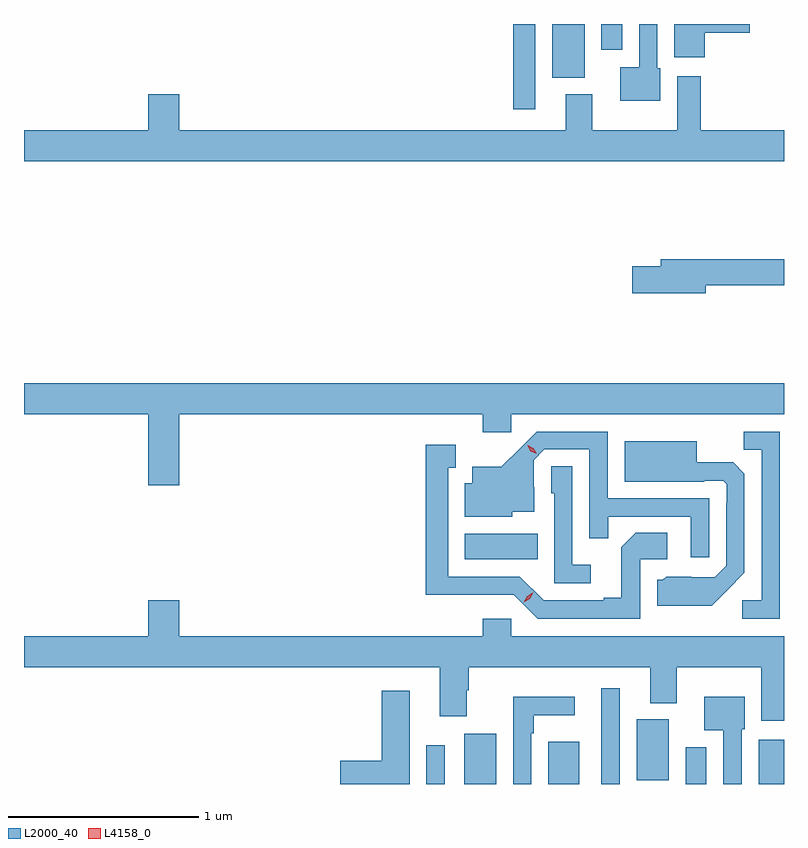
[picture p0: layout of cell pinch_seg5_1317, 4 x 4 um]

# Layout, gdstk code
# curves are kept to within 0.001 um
import gdstk
lib = gdstk.Library(unit=1e-6, precision=1e-09)
def R(c, l, rs):  # rectangles x0, y0, x1, y1
    for r in rs: c.add(gdstk.rectangle(r[:2], r[2:], *l))
def P(c, l, *ps):  # polygons
    for p in ps: c.add(gdstk.Polygon(p, *l))
L2000_40 = (2000, 40)
L4158_0 = (4158, 0)

pinch_seg5_1317 = lib.new_cell('pinch_seg5_1317')
R(pinch_seg5_1317, L2000_40, [(298.341,877.458,298.437,877.663), (298.541,877.458,298.708,877.723), (298.982,877.458,299.146,877.681), (299.262,877.458,299.358,877.963), (299.705,877.458,299.815,877.651), (300.089,877.458,300.223,877.69), (299.447,877.478,299.617,877.798), (298.544,878.642,298.928,878.776), (298.798,881.01,298.914,881.458), (299.003,881.174,299.173,881.458), (299.261,881.322,299.371,881.458)])
P(pinch_seg5_1317, L2000_40, [(299.572,881.226),(299.556,881.226),(299.556,881.458),(299.46,881.458),(299.46,881.23),(299.36,881.23),(299.36,881.054),(299.572,881.054)],
  [(299.807,881.411),(300.043,881.411),(300.043,881.458),(299.645,881.458),(299.645,881.283),(299.807,881.283)],
  [(300.223,880.9),(299.786,880.9),(299.786,881.182),(299.66,881.182),(299.66,880.9),(299.215,880.9),(299.215,881.089),(299.075,881.089),(299.075,880.9),(297.04,880.9),(297.04,881.089),(296.876,881.089),(296.876,880.9),(296.223,880.9),(296.223,880.736),(300.223,880.736)],
  [(299.812,880.084),(300.223,880.084),(300.223,880.22),(299.573,880.22),(299.573,880.184),(299.424,880.184),(299.424,880.042),(299.812,880.042)],
  [(297.04,879.404),(298.637,879.404),(298.637,879.309),(298.788,879.309),(298.788,879.404),(300.223,879.404),(300.223,879.568),(296.223,879.568),(296.223,879.404),(296.876,879.404),(296.876,879.03),(297.04,879.03)],
  [(299.829,878.961),(299.295,878.961),(299.295,879.312),(298.922,879.312),(298.735,879.127),(298.583,879.127),(298.583,879.04),(298.544,879.04),(298.544,878.864),(298.794,878.864),(298.794,878.891),(298.909,878.891),(298.909,879.02),(298.905,879.02),(298.905,879.162),(298.962,879.219),(299.199,879.219),(299.199,878.752),(299.297,878.752),(299.297,878.865),(299.733,878.865),(299.733,878.652),(299.829,878.652)],
  [(300.201,879.312),(300.01,879.312),(300.01,879.217),(300.105,879.217),(300.105,878.424),(300.003,878.424),(300.003,878.328),(300.201,878.328)],
  [(299.923,878.477),(300.015,878.57),(300.015,879.092),(299.956,879.151),(299.764,879.151),(299.764,879.262),(299.384,879.262),(299.384,879.05),(299.804,879.05),(299.804,879.054),(299.904,879.054),(299.922,879.036),(299.922,878.936),(299.919,878.936),(299.919,878.607),(299.859,878.547),(299.602,878.548),(299.586,878.532),(299.555,878.532),(299.555,878.396),(299.843,878.396)],
  [(299.466,878.64),(299.608,878.64),(299.608,878.78),(299.443,878.78),(299.367,878.704),(299.367,878.437),(299.273,878.437),(299.273,878.424),(298.959,878.424),(298.833,878.55),(298.456,878.55),(298.456,879.123),(298.495,879.123),(298.495,879.244),(298.338,879.244),(298.338,878.453),(298.8,878.454),(298.926,878.328),(299.466,878.328)],
  [(299.206,878.611),(299.109,878.611),(299.109,879.131),(298.998,879.131),(298.998,878.988),(299.013,878.988),(299.013,878.514),(299.206,878.514)],
  [(297.04,878.425),(296.876,878.425),(296.876,878.236),(296.223,878.236),(296.223,878.072),(298.412,878.072),(298.412,877.815),(298.552,877.815),(298.552,877.952),(298.565,877.952),(298.565,878.072),(299.519,878.072),(299.519,877.883),(299.659,877.883),(299.659,878.072),(300.104,878.072),(300.104,877.791),(300.223,877.791),(300.223,878.236),(298.788,878.236),(298.788,878.329),(298.637,878.329),(298.637,878.236),(297.04,878.236)],
  [(298.252,877.948),(298.106,877.948),(298.106,877.58),(297.888,877.58),(297.888,877.458),(298.252,877.458)],
  [(298.893,877.724),(298.906,877.724),(298.906,877.82),(299.122,877.82),(299.122,877.918),(298.797,877.918),(298.797,877.458),(298.893,877.458)],
  [(300,877.746),(300.016,877.746),(300.016,877.918),(299.804,877.918),(299.804,877.742),(299.904,877.742),(299.904,877.458),(300,877.458)])
P(pinch_seg5_1317, L4158_0, [(298.921,879.195),(298.89,879.21),(298.873,879.239),(298.873,879.24),(298.873,879.24),(298.904,879.224),(298.921,879.195),(298.921,879.195)],
  [(298.854,878.414),(298.854,878.415),(298.871,878.447),(298.903,878.467),(298.903,878.467),(298.903,878.466),(298.886,878.434),(298.854,878.414)])

lib.write_gds('pinch_seg5_1317.gds')
